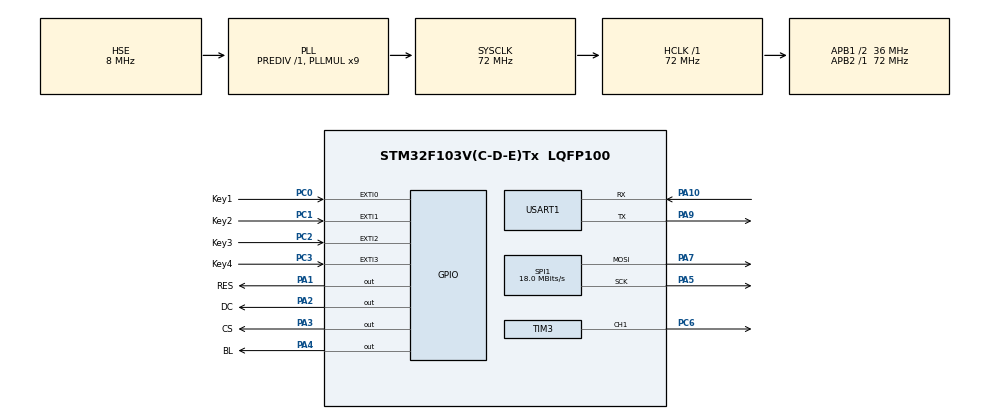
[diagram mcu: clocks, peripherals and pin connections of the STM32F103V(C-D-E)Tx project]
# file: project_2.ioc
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Dma.Request0=USART1_RX
Dma.Request1=USART1_TX
Dma.Request2=SPI1_TX
Dma.SPI1_TX.2.Direction=DMA_MEMORY_TO_PERIPH
Dma.SPI1_TX.2.Instance=DMA1_Channel3
Dma.SPI1_TX.2.MemDataAlignment=DMA_MDATAALIGN_BYTE
Dma.SPI1_TX.2.MemInc=DMA_MINC_ENABLE
Dma.SPI1_TX.2.Mode=DMA_NORMAL
Dma.SPI1_TX.2.PeriphDataAlignment=DMA_PDATAALIGN_BYTE
Dma.SPI1_TX.2.PeriphInc=DMA_PINC_DISABLE
Dma.SPI1_TX.2.Priority=DMA_PRIORITY_MEDIUM
Dma.USART1_RX.0.Direction=DMA_PERIPH_TO_MEMORY
Dma.USART1_RX.0.Instance=DMA1_Channel5
Dma.USART1_RX.0.MemDataAlignment=DMA_MDATAALIGN_BYTE
Dma.USART1_RX.0.MemInc=DMA_MINC_ENABLE
Dma.USART1_RX.0.Mode=DMA_NORMAL
Dma.USART1_RX.0.PeriphDataAlignment=DMA_PDATAALIGN_BYTE
Dma.USART1_RX.0.PeriphInc=DMA_PINC_DISABLE
Dma.USART1_RX.0.Priority=DMA_PRIORITY_MEDIUM
Dma.USART1_TX.1.Direction=DMA_MEMORY_TO_PERIPH
Dma.USART1_TX.1.Instance=DMA1_Channel4
Dma.USART1_TX.1.MemDataAlignment=DMA_MDATAALIGN_BYTE
Dma.USART1_TX.1.MemInc=DMA_MINC_ENABLE
Dma.USART1_TX.1.Mode=DMA_NORMAL
Dma.USART1_TX.1.PeriphDataAlignment=DMA_PDATAALIGN_BYTE
Dma.USART1_TX.1.PeriphInc=DMA_PINC_DISABLE
Dma.USART1_TX.1.Priority=DMA_PRIORITY_MEDIUM
Mcu.Family=STM32F1
Mcu.Name=STM32F103V(C-D-E)Tx
Mcu.Package=LQFP100
NVIC.DMA1_Channel3_IRQn=true\:0\:0\:false\:false\:true\:false\:true\:true
NVIC.DMA1_Channel4_IRQn=true\:0\:0\:false\:false\:true\:false\:true\:true
NVIC.DMA1_Channel5_IRQn=true\:0\:0\:false\:false\:true\:false\:true\:true
NVIC.EXTI0_IRQn=true\:2\:1\:true\:false\:true\:true\:true\:true
NVIC.EXTI1_IRQn=true\:2\:1\:true\:false\:true\:true\:true\:true
NVIC.EXTI2_IRQn=true\:0\:1\:false\:false\:true\:true\:true\:true
NVIC.EXTI3_IRQn=true\:2\:1\:true\:false\:true\:true\:true\:true
NVIC.PriorityGroup=NVIC_PRIORITYGROUP_2
NVIC.SPI1_IRQn=true\:0\:0\:false\:false\:true\:true\:true\:true
NVIC.TIM3_IRQn=true\:2\:2\:true\:false\:true\:true\:true\:true
NVIC.USART1_IRQn=true\:3\:3\:true\:false\:true\:true\:true\:true
OSC_IN.Mode=HSE-External-Oscillator
OSC_IN.Signal=RCC_OSC_IN
OSC_OUT.Mode=HSE-External-Oscillator
OSC_OUT.Signal=RCC_OSC_OUT
PA1.GPIO_Label=RES
PA1.GPIO_Speed=GPIO_SPEED_FREQ_HIGH
PA1.PinState=GPIO_PIN_SET
PA1.Signal=GPIO_Output
PA10.Mode=Asynchronous
PA10.Signal=USART1_RX
PA13.Mode=Serial_Wire
PA13.Signal=SYS_JTMS-SWDIO
PA14.Mode=Serial_Wire
PA14.Signal=SYS_JTCK-SWCLK
PA2.GPIO_Label=DC
PA2.GPIO_Speed=GPIO_SPEED_FREQ_HIGH
PA2.PinState=GPIO_PIN_SET
PA2.Signal=GPIO_Output
PA3.GPIO_Label=CS
PA3.GPIO_Speed=GPIO_SPEED_FREQ_HIGH
PA3.PinState=GPIO_PIN_SET
PA3.Signal=GPIO_Output
PA4.GPIO_Label=BL
PA4.GPIO_Speed=GPIO_SPEED_FREQ_HIGH
PA4.PinState=GPIO_PIN_SET
PA4.Signal=GPIO_Output
PA5.Mode=TX_Only_Simplex_Unidirect_Master
PA5.Signal=SPI1_SCK
PA7.Mode=TX_Only_Simplex_Unidirect_Master
PA7.Signal=SPI1_MOSI
PA9.Mode=Asynchronous
PA9.Signal=USART1_TX
PC0.GPIO_Label=Key1
PC0.GPIO_ModeDefaultEXTI=GPIO_MODE_IT_FALLING
PC0.Signal=GPXTI0
PC1.GPIO_Label=Key2
PC1.GPIO_ModeDefaultEXTI=GPIO_MODE_IT_FALLING
PC1.Signal=GPXTI1
PC2.GPIO_Label=Key3
PC2.GPIO_ModeDefaultEXTI=GPIO_MODE_IT_FALLING
PC2.Signal=GPXTI2
PC3.GPIO_Label=Key4
PC3.GPIO_ModeDefaultEXTI=GPIO_MODE_IT_FALLING
PC3.Signal=GPXTI3
PC6.Signal=S_TIM3_CH1
ProjectManager.HeapSize=0x200
ProjectManager.StackSize=0x400
ProjectManager.TargetToolchain=STM32CubeIDE
RCC.AHBFreq_Value=72000000
RCC.APB1CLKDivider=RCC_HCLK_DIV2
RCC.APB1Freq_Value=36000000
RCC.APB1TimFreq_Value=72000000
RCC.APB2Freq_Value=72000000
RCC.APB2TimFreq_Value=72000000
RCC.HCLKFreq_Value=72000000
RCC.PLLMUL=RCC_PLL_MUL9
RCC.PLLSourceVirtual=RCC_PLLSOURCE_HSE
RCC.SYSCLKFreq_VALUE=72000000
RCC.SYSCLKSource=RCC_SYSCLKSOURCE_PLLCLK
RCC.USBFreq_Value=72000000
SH.S_TIM3_CH1.0=TIM3_CH1,PWM Generation1 CH1
SPI1.BaudRatePrescaler=SPI_BAUDRATEPRESCALER_4
SPI1.CalculateBaudRate=18.0 MBits/s
SPI1.Direction=SPI_DIRECTION_2LINES
SPI1.Mode=SPI_MODE_MASTER
SPI1.VirtualType=VM_MASTER
TIM3.Channel-PWM\ Generation1\ CH1=TIM_CHANNEL_1
TIM3.Period=9999
TIM3.Prescaler=7199
USART1.VirtualMode=VM_ASYNC
VP_TIM3_VS_ClockSourceINT.Mode=Internal
board=custom

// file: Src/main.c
/* USER CODE BEGIN Header */
/**
  ******************************************************************************
  * @file           : main.c
  * @brief          : Main program body
  ******************************************************************************
  * @attention
  *
  * Copyright (c) 2024 STMicroelectronics.
  * All rights reserved.
  *
  * This software is licensed under terms that can be found in the LICENSE file
  * in the root directory of this software component.
  * If no LICENSE file comes with this software, it is provided AS-IS.
  *
  ******************************************************************************
  */
/* USER CODE END Header */
#include "main.h"
#include "dma.h"
#include "spi.h"
#include "tim.h"
#include "usart.h"
#include "gpio.h"

/* USER CODE BEGIN Includes */
#include "drv_st7789.h"
/* USER CODE END Includes */

/* USER CODE BEGIN PV */
struct Commands main_cmd;
uint8_t RxBuffer[LENGTH];
uint8_t RecCount = 0;
uint32_t TIM_counter = 0;
uint8_t Key_Num4 = 0;
/* USER CODE END PV */

void SystemClock_Config(void);

int main(void)
{

  /* MCU Configuration--------------------------------------------------------*/

  /* Reset of all peripherals, Initializes the Flash interface and the Systick. */
  HAL_Init();

  /* Configure the system clock */
  SystemClock_Config();

  /* Initialize all configured peripherals */
  MX_GPIO_Init();
  MX_DMA_Init();
  MX_TIM3_Init();
  MX_USART1_UART_Init();
  MX_SPI1_Init();
  /* USER CODE BEGIN 2 */
  LCD_Init();
    LCD_Fill(0,0,240,320,WHITE);
//    LCD_ShowChar(175,80,':',BLACK,WHITE,24,0);
    __HAL_UART_CLEAR_IDLEFLAG(&huart1);
    __HAL_UART_ENABLE_IT(&huart1, UART_IT_IDLE);
    HAL_UART_Receive_DMA(&huart1, (uint8_t *) RxBuffer, LENGTH);
    HAL_TIM_Base_Start_IT(&htim3);
    __HAL_TIM_SET_COMPARE(&htim3, TIM_CHANNEL_1, 5000);
//    HAL_TIM_PWM_Start(&htim3,TIM_CHANNEL_1);
  /* USER CODE END 2 */

  /* Infinite loop */
  /* USER CODE BEGIN WHILE */
  while (1)
  {
//      LCD_ShowIntNum(185,80,main_cmd.T_scd/10,1,BLACK,WHITE,24);
//      LCD_ShowIntNum(200,80,main_cmd.T_scd%10,1,BLACK,WHITE,24);
//      LCD_ShowIntNum(165,80,main_cmd.T_min%10,1,BLACK,WHITE,24);
//      LCD_ShowIntNum(150,80,main_cmd.T_min/10,1,BLACK,WHITE,24);
    /* USER CODE END WHILE */

    /* USER CODE BEGIN 3 */
      switch (main_cmd.Key_Num) {
          case 1:
              if(main_cmd.print_1_){
                  __HAL_TIM_CLEAR_FLAG(&htim3, TIM3_IRQn);
                  HAL_TIM_Base_Stop_IT(&htim3);
//                  HAL_TIM_Base_Stop(&htim3);
                  println("请输入设定小时时间：");
                  main_cmd.print_1_ = 0;
              }
              break;

          case 2:
              if(main_cmd.print_1_){
                  __HAL_TIM_CLEAR_FLAG(&htim3, TIM3_IRQn);
                  HAL_TIM_Base_Stop_IT(&htim3);
//                  HAL_TIM_Base_Stop(&htim3);
                  println("请输入设定分钟时间：");
                  main_cmd.print_1_ = 0;
              }
              break;

          case 3:
              if(main_cmd.print_1_){
                  __HAL_TIM_CLEAR_FLAG(&htim3, TIM3_IRQn);
                  HAL_TIM_Base_Stop_IT(&htim3);
//                  HAL_TIM_Base_Stop(&htim3);
                  println("闹钟设定,请输入设定时间：(格式: hh-mm):");
                  main_cmd.print_1_ = 0;
              }
              alarm_compare();
              break;
          case 4:
              __HAL_TIM_SET_COMPARE(&htim3, TIM_CHANNEL_1, 0);
              main_cmd.Key_Num = 0;
              break;
          default:
              main_cmd.print_1_ = 1;
              main_cmd.A_min = 99;
              main_cmd.A_hor = 99;
              break;
      }
  }
  /* USER CODE END 3 */
}

void SystemClock_Config(void)
{
  RCC_OscInitTypeDef RCC_OscInitStruct = {0};
  RCC_ClkInitTypeDef RCC_ClkInitStruct = {0};

  /** Initializes the RCC Oscillators according to the specified parameters
  * in the RCC_OscInitTypeDef structure.
  */
  RCC_OscInitStruct.OscillatorType = RCC_OSCILLATORTYPE_HSE;
  RCC_OscInitStruct.HSEState = RCC_HSE_ON;
  RCC_OscInitStruct.HSEPredivValue = RCC_HSE_PREDIV_DIV1;
  RCC_OscInitStruct.HSIState = RCC_HSI_ON;
  RCC_OscInitStruct.PLL.PLLState = RCC_PLL_ON;
  RCC_OscInitStruct.PLL.PLLSource = RCC_PLLSOURCE_HSE;
  RCC_OscInitStruct.PLL.PLLMUL = RCC_PLL_MUL9;
  if (HAL_RCC_OscConfig(&RCC_OscInitStruct) != HAL_OK)
  {
    Error_Handler();
  }

  /** Initializes the CPU, AHB and APB buses clocks
  */
  RCC_ClkInitStruct.ClockType = RCC_CLOCKTYPE_HCLK|RCC_CLOCKTYPE_SYSCLK
                              |RCC_CLOCKTYPE_PCLK1|RCC_CLOCKTYPE_PCLK2;
  RCC_ClkInitStruct.SYSCLKSource = RCC_SYSCLKSOURCE_PLLCLK;
  RCC_ClkInitStruct.AHBCLKDivider = RCC_SYSCLK_DIV1;
  RCC_ClkInitStruct.APB1CLKDivider = RCC_HCLK_DIV2;
  RCC_ClkInitStruct.APB2CLKDivider = RCC_HCLK_DIV1;

  if (HAL_RCC_ClockConfig(&RCC_ClkInitStruct, FLASH_LATENCY_2) != HAL_OK)
  {
    Error_Handler();
  }
}

/* USER CODE BEGIN 4 */
void alarm_compare(){
    if(main_cmd.T_min == main_cmd.A_min && main_cmd.T_hor == main_cmd.A_hor){
        HAL_TIM_PWM_Start(&htim3,TIM_CHANNEL_1);
        main_cmd.Key_Num = 0;
    }
}

void LCD_Show_Time(char* String){
    LCD_ShowString(80,80,String,BLACK,WHITE,24,0);
}
/* USER CODE END 4 */

void Error_Handler(void)
{
  __disable_irq();
  while (1)
  {
  }
}
